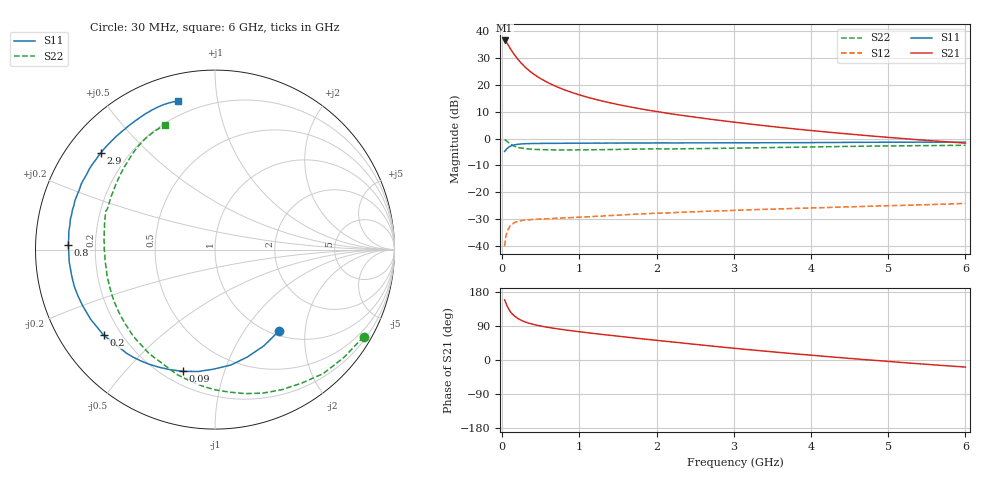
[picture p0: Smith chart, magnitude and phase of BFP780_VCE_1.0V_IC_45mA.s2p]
! Infineon Technologies  Discrete & RF Semiconductors
! BFP780
! VCE =  1.0 V,  IC =  45 mA
! Common Emitter S-Parameters:  Jul 2015
# GHz  S  MA  R  50
!  f  S11  S21  S12  S22
! GHz  MAG  ANG  MAG  ANG  MAG  ANG  MAG  ANG
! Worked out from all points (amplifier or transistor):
!   75 points, 30 MHz to 6 GHz, reference 50 ohm
!   highest |S21| = 36.5 dB at 30 MHz (marker M1)
!   |S21| within 3 dB of that: start of sweep to 103.6 MHz
!   unconditionally stable (mu >= 1): 2.061 GHz to end of sweep
!   at 150 MHz: K = 0.12, MSG = 31.4 dB, |S12| = -31.3 dB
!   at 2.3 GHz: K = 1.08, MAG = 16.4 dB, |S12| = -27.4 dB
!   at 6 GHz: K = 1.57, MAG = 6.8 dB, |S12| = -24.1 dB
!   S11 on the Smith chart (normalised r, x): 30 MHz: 1.07, -1.46; 90 MHz: 0.28, -0.74; 200 MHz: 0.14, -0.33; 800 MHz: 0.10, +0.02; 2.9 GHz: 0.10, +0.36; 6 GHz: 0.13, +0.77
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0.03  0.577 -52.1  66.53 158.9  0.01 69.9  0.9597 -30.4
0.05  0.6243 -73.0  62.38 148.5  0.0162 60.1  0.9169 -48.9
0.06  0.6491 -82.1  59.72 144.1  0.0177 58.2  0.8873 -56.9
0.07  0.6659 -90.6  56.73 139.7  0.02 50.9  0.8645 -64.6
0.09  0.7009 -104.6  50.75 132.2  0.0221 47.3  0.8201 -78.1
0.11  0.7254 -115.3  45.49 126.2  0.0245 40.5  0.7825 -89.5
0.14  0.7528 -127.1  39.12 119.3  0.0262 35.6  0.737 -103.2
0.2  0.7827 -142.5  29.89 109.8  0.0288 27.3  0.6859 -122.4
0.25  0.7942 -150.8  24.77 104.3  0.03 23.9  0.6638 -133.4
0.3  0.801 -157.0  20.98 100.1  0.0306 21.2  0.6474 -141.6
0.35  0.8063 -161.6  18.18 96.8  0.0309 19.2  0.638 -147.9
0.45  0.811 -168.3  14.3 91.7  0.0316 17.3  0.6268 -156.9
0.6  0.8151 -175.3  10.79 85.9  0.0323 15.8  0.6191 -166.2
0.8  0.8179 178.1  8.1 79.8  0.0335 15.5  0.6157 -174.3
1.1  0.8197 170.5  5.874 72.1  0.0351 15.9  0.6172 177.2
1.5  0.8237 162.7  4.287 62.9  0.0377 16.4  0.627 169.0
2.1  0.8296 152.3  3.013 49.7  0.0411 15.6  0.6408 159.3
2.9  0.8336 139.6  2.103 33.0  0.0456 14.0  0.661 146.9
3.1  0.835 136.7  1.942 29.1  0.0469 13.4  0.6672 143.9
4.1  0.8426 122.9  1.367 11.0  0.0517 10.3  0.701 131.6
5.1  0.8557 112.0  1.025 -5.3  0.0569 6.6  0.7313 121.2
6  0.8547 104.1  0.822 -18.7  0.0623 2.5  0.7494 112.0
